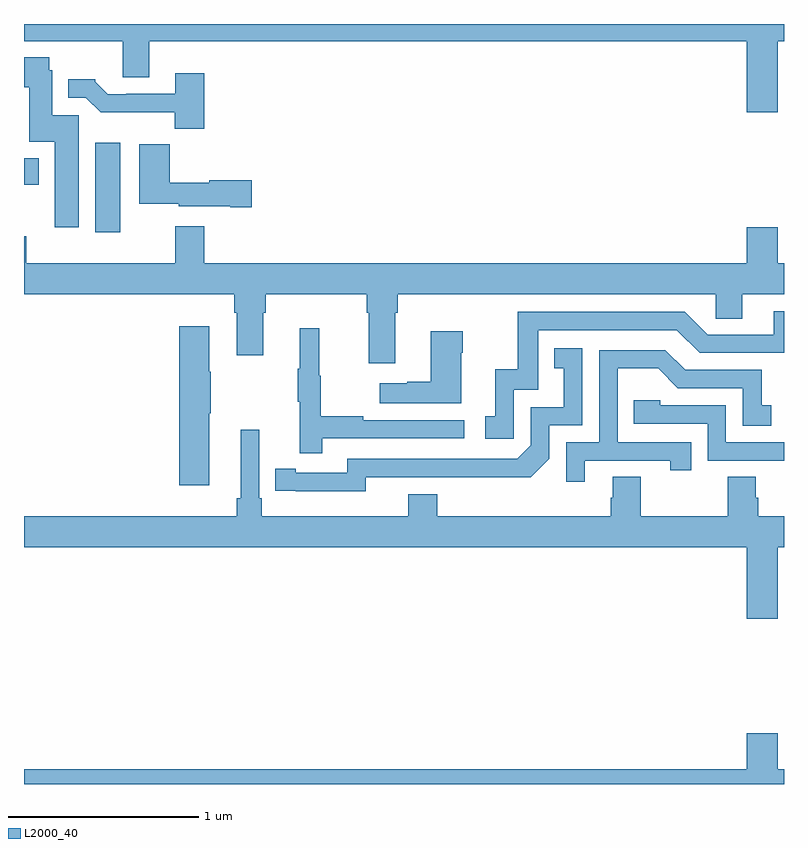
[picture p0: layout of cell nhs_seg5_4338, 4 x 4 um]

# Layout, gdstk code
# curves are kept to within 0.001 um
import gdstk
lib = gdstk.Library(unit=1e-6, precision=1e-09)
def R(c, l, rs):  # rectangles x0, y0, x1, y1
    for r in rs: c.add(gdstk.rectangle(r[:2], r[2:], *l))
def P(c, l, *ps):  # polygons
    for p in ps: c.add(gdstk.Polygon(p, *l))
L2000_40 = (2000, 40)

nhs_seg5_4338 = lib.new_cell('nhs_seg5_4338')
R(nhs_seg5_4338, L2000_40, [(365.375,907.704,365.506,908.173), (365,907.952,365.077,908.092)])
P(nhs_seg5_4338, L2000_40, [(368.968,908.708),(369,908.708),(369,908.799),(365,908.799),(365,908.708),(365.519,908.708),(365.519,908.518),(365.659,908.518),(365.659,908.708),(368.804,908.708),(368.804,908.334),(368.968,908.334)],
  [(365.287,908.319),(365.149,908.319),(365.149,908.556),(365.133,908.556),(365.133,908.623),(365,908.623),(365,908.467),(365.027,908.467),(365.027,908.18),(365.162,908.18),(365.162,907.728),(365.287,907.728)],
  [(365.948,908.539),(365.795,908.539),(365.795,908.433),(365.539,908.433),(365.539,908.43),(365.44,908.43),(365.376,908.494),(365.376,908.509),(365.234,908.509),(365.234,908.412),(365.325,908.412),(365.404,908.334),(365.793,908.334),(365.793,908.249),(365.948,908.249)],
  [(366.199,907.976),(365.976,907.976),(365.976,907.963),(365.768,907.963),(365.768,908.167),(365.606,908.167),(365.606,907.853),(365.814,907.853),(365.814,907.841),(366.086,907.841),(366.086,907.834),(366.199,907.834)],
  [(365.948,907.735),(365.795,907.735),(365.795,907.54),(365.012,907.54),(365.012,907.681),(365,907.681),(365,907.376),(366.107,907.376),(366.107,907.28),(366.119,907.28),(366.119,907.056),(366.259,907.056),(366.259,907.28),(366.272,907.28),(366.272,907.376),(366.803,907.376),(366.803,907.28),(366.815,907.28),(366.815,907.014),(366.955,907.014),(366.955,907.28),(366.968,907.28),(366.968,907.376),(368.64,907.376),(368.64,907.249),(368.779,907.249),(368.779,907.376),(369,907.376),(369,907.54),(368.968,907.54),(368.968,907.729),(368.804,907.729),(368.804,907.54),(365.948,907.54)],
  [(367.578,906.873),(367.707,906.873),(367.707,907.188),(368.436,907.188),(368.556,907.068),(369,907.068),(369,907.287),(368.945,907.287),(368.945,907.164),(368.598,907.164),(368.478,907.284),(367.599,907.284),(367.599,906.982),(367.481,906.982),(367.481,906.735),(367.428,906.735),(367.428,906.615),(367.578,906.615)],
  [(365.974,906.751),(365.982,906.751),(365.982,906.968),(365.974,906.968),(365.974,907.207),(365.816,907.207),(365.816,906.372),(365.974,906.372)],
  [(366.569,906.618),(367.318,906.618),(367.318,906.714),(366.785,906.714),(366.785,906.734),(366.562,906.734),(366.562,906.948),(366.554,906.948),(366.554,907.198),(366.452,907.198),(366.452,906.985),(366.441,906.985),(366.441,906.811),(366.452,906.811),(366.452,906.54),(366.569,906.54)],
  [(367.3,907.07),(367.308,907.07),(367.308,907.183),(367.142,907.183),(367.142,906.917),(367.016,906.917),(367.016,906.907),(366.873,906.907),(366.873,906.803),(367.3,906.803)],
  [(366.798,906.414),(367.666,906.413),(367.764,906.51),(367.764,906.687),(367.938,906.687),(367.938,907.093),(367.792,907.093),(367.792,906.987),(367.841,906.987),(367.841,906.783),(367.668,906.783),(367.668,906.582),(367.596,906.51),(366.702,906.51),(366.702,906.438),(366.43,906.438),(366.43,906.458),(366.322,906.458),(366.322,906.342),(366.798,906.341)],
  [(367.951,906.501),(368.402,906.501),(368.402,906.45),(368.513,906.45),(368.513,906.597),(368.124,906.597),(368.124,906.986),(368.338,906.986),(368.442,906.882),(368.784,906.882),(368.784,906.684),(368.932,906.684),(368.932,906.793),(368.883,906.793),(368.883,906.978),(368.479,906.978),(368.374,907.083),(368.028,907.083),(368.028,906.597),(367.854,906.597),(367.854,906.39),(367.951,906.39)],
  [(369,906.597),(368.694,906.597),(368.694,906.792),(368.349,906.792),(368.349,906.819),(368.209,906.819),(368.209,906.696),(368.598,906.696),(368.598,906.501),(369,906.501)],
  [(368.099,906.416),(368.099,906.306),(368.087,906.306),(368.087,906.208),(367.175,906.208),(367.175,906.325),(367.022,906.325),(367.022,906.208),(366.251,906.208),(366.251,906.304),(366.237,906.304),(366.237,906.664),(366.14,906.664),(366.14,906.304),(366.121,906.304),(366.121,906.208),(365,906.208),(365,906.044),(368.804,906.044),(368.804,905.67),(368.968,905.67),(368.968,906.044),(369,906.044),(369,906.208),(368.864,906.208),(368.864,906.306),(368.851,906.306),(368.851,906.416),(368.704,906.416),(368.704,906.208),(368.247,906.208),(368.247,906.416)],
  [(369,904.876),(368.968,904.876),(368.968,905.065),(368.804,905.065),(368.804,904.876),(365,904.876),(365,904.799),(369,904.799)])

lib.write_gds('nhs_seg5_4338.gds')
